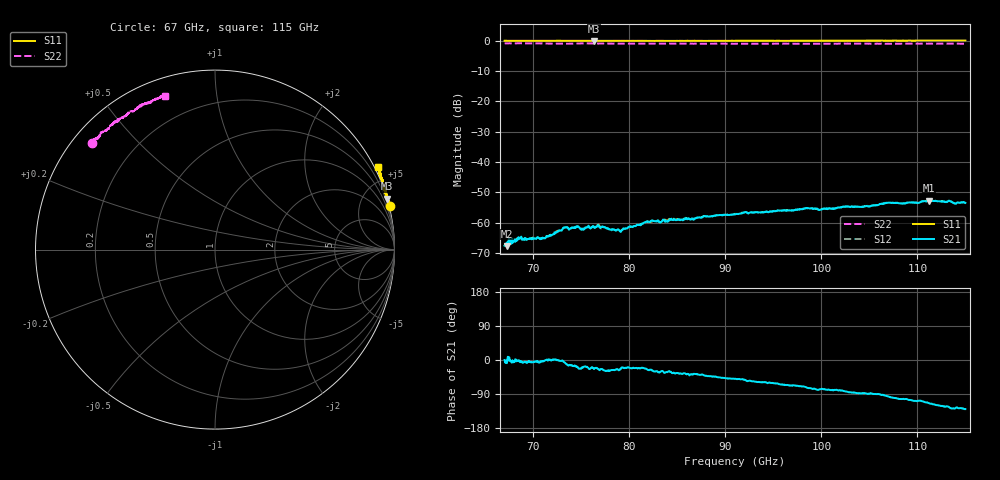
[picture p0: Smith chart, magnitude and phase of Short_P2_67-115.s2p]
!Keysight Technologies,N5247B,MY61256062,A.16.20.04
!Date: Tuesday, November 18, 2025 07:38:50
!Correction: S11(C  2-Port  )
!S21(C  2-Port  )
!S12(C  2-Port  )
!S22(C  2-Port  )
!S2P File: Measurements: S11, S21, S12, S22:
# Hz S  dB  R 50
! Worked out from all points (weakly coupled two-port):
!   1001 points, 67 GHz to 115 GHz, reference 50 ohm
!   highest |S21| = -52.75 dB at 111.2 GHz (marker M1); lowest = -67.7 dB at 67.24 GHz (marker M2)
!   lowest |S11| = 0.0 dB at 76.26 GHz (marker M3)
!   |S11| at or under -10 dB: nowhere
!   |S22| runs from -1.0 to -0.7 dB; largest |S21 - S12| = 0.00012
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6.7e10  0.05 14.0  -67.64 0.1  -67.82 0.5  -0.84 139.2
6.724e10  0.03 14.1  -67.72 -8.4  -66.94 -0.7  -0.79 138.8
6.8488e10  0.02 14.7  -65.47 -0.6  -65.25 -2.5  -0.78 138.3
7.108e10  0.05 15.2  -65.29 -3.5  -65.09 0.4  -0.84 137.1
7.3336e10  0.04 15.7  -61.60 -8.3  -61.60 -7.8  -0.90 135.8
7.4536e10  0.01 16.0  -61.29 -17.9  -61.25 -16.9  -0.86 135.1
7.5016e10  -0.00 16.2  -62.42 -21.3  -62.01 -21.0  -0.82 134.7
7.6264e10  -0.00 16.5  -61.52 -21.8  -61.28 -19.7  -0.85 133.9
7.6696e10  0.01 16.6  -61.23 -23.3  -60.89 -20.7  -0.86 133.7
7.804e10  0.02 17.0  -62.41 -27.4  -62.44 -27.0  -0.86 132.8
7.9048e10  0.04 17.3  -62.80 -25.0  -62.77 -23.6  -0.92 132.4
8.1736e10  0.02 17.7  -59.72 -22.9  -59.90 -22.3  -0.95 131.1
8.3032e10  0.01 18.0  -59.72 -32.5  -59.61 -29.0  -0.90 129.8
8.4376e10  0.00 18.5  -58.75 -32.9  -58.72 -31.0  -0.91 129.0
8.5384e10  0.04 18.8  -59.04 -35.9  -59.04 -33.1  -0.90 128.5
9.1e10  0.04 20.3  -57.31 -49.7  -57.15 -48.1  -0.94 124.9
9.9016e10  0.07 22.5  -55.27 -75.6  -55.32 -74.4  -0.95 119.7
1.04296e11  0.09 23.9  -54.86 -88.2  -54.79 -85.6  -0.90 115.9
1.07032e11  0.12 24.4  -53.44 -96.9  -53.44 -95.4  -0.96 114.0
1.08568e11  0.10 25.0  -53.74 -102.9  -53.66 -101.1  -0.94 113.1
1.11208e11  0.15 25.7  -52.75 -114.3  -52.83 -113.5  -0.89 110.8
1.15e11  0.14 26.8  -53.52 -129.4  -53.42 -128.6  -0.93 108.2
